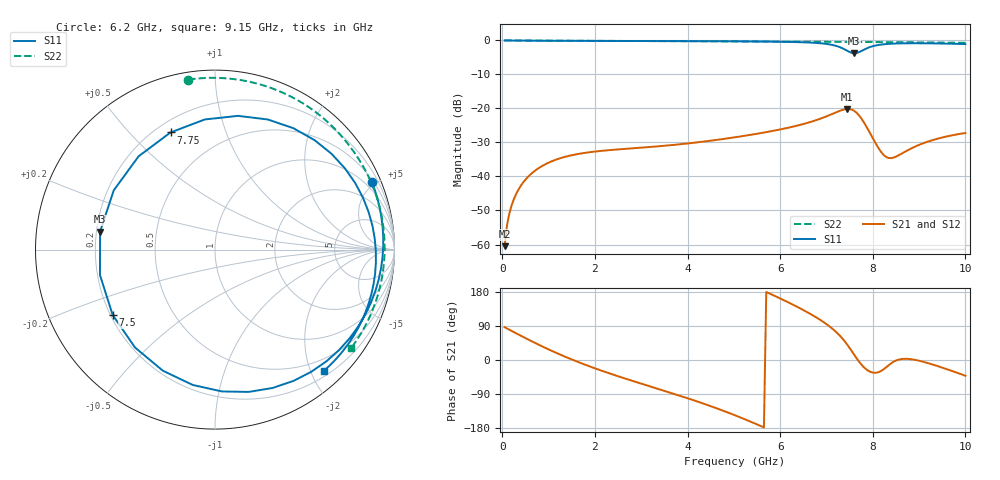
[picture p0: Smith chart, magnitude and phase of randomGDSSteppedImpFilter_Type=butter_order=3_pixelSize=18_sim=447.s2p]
! freq	dB(S11)	phase(S11)	dB(S12)	phase(S12)
!  dB(S21)	phase(S21)	dB(S22)	phase(S22)
!S-par simulation data
#  GHz  S  DB  R 50
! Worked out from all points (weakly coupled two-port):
!   200 points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, 50 MHz to 10 GHz, reference 50 ohm
!   highest |S21| = -20.14 dB at 7.45 GHz (marker M1); lowest = -60.5 dB at 50 MHz (marker M2)
!   lowest |S11| = -3.8 dB at 7.6 GHz (marker M3), VSWR 4.68, Z = 10.7 + j3.71 ohm
!   |S11| at or under -10 dB: nowhere
!   |S22| runs from -0.7 to 0.0 dB; largest |S21 - S12| = 0
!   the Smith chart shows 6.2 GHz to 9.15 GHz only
!   S11 on the Smith chart (normalised r, x): 6.2 GHz: 0.59, +4.74; 7.5 GHz: 0.21, -0.28; 7.75 GHz: 0.26, +0.66; 9.15 GHz: 0.29, -2.21
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0.05  -0.00 -4.2  -60.49 86.6  -60.49 86.6  -0.00 -2.4
0.2  -0.02 -16.6  -48.55 76.8  -48.55 76.8  -0.01 -9.6
0.5  -0.05 -40.7  -40.93 57.7  -40.93 57.7  -0.03 -23.8
1.1  -0.10 -84.7  -35.35 22.4  -35.35 22.4  -0.07 -51.5
1.75  -0.12 -124.8  -33.12 -10.6  -33.12 -10.6  -0.10 -80.2
2.55  -0.15 -165.8  -31.99 -44.9  -31.99 -44.9  -0.14 -113.3
3.4  -0.17 155.9  -31.09 -77.5  -31.09 -77.5  -0.17 -146.6
4.3  -0.21 116.7  -29.82 -113.2  -29.82 -113.2  -0.23 178.7
5.05  -0.26 82.8  -28.42 -147.1  -28.42 -147.1  -0.28 148.7
6.2  -0.43 23.5  -25.59 150.7  -25.59 150.7  -0.37 98.9
6.7  -0.66 -10.3  -23.78 118.2  -23.78 118.2  -0.41 75.6
7  -1.02 -39.0  -22.33 94.7  -22.33 94.7  -0.43 61.4
7.2  -1.56 -67.3  -21.19 74.9  -21.19 74.9  -0.45 51.8
7.35  -2.33 -99.3  -20.41 55.9  -20.41 55.9  -0.47 44.7
7.45  -3.04 -129.3  -20.14 40.4  -20.14 40.4  -0.48 40.0
7.5  -3.39 -147.4  -20.17 31.8  -20.17 31.8  -0.48 37.6
7.6  -3.77 171.1  -20.71 13.6  -20.71 13.6  -0.48 32.9
7.75  -3.12 110.8  -22.88 -11.5  -22.88 -11.5  -0.47 25.9
8  -1.68 47.7  -28.72 -33.2  -28.72 -33.2  -0.47 14.1
8.35  -0.99 3.9  -34.58 -13.1  -34.58 -13.1  -0.49 -2.0
9.15  -0.84 -48.0  -29.93 -6.7  -29.93 -6.7  -0.57 -36.1
10  -1.06 -87.3  -27.21 -41.6  -27.21 -41.6  -0.70 -67.9
